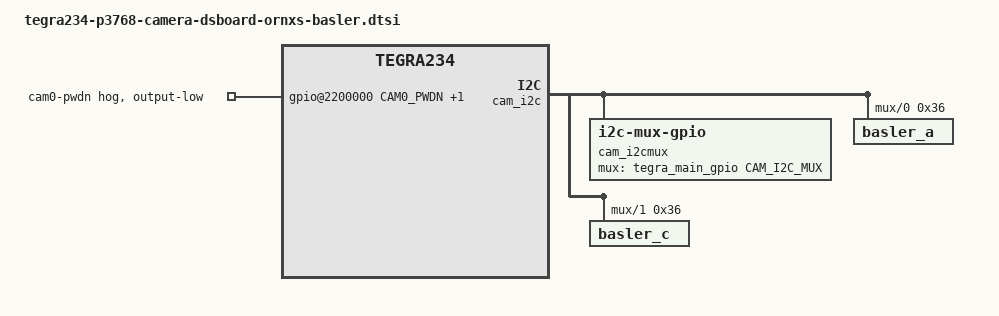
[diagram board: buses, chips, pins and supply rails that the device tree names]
/*
 * Copyright (c) 2022, NVIDIA CORPORATION.  All rights reserved.
 *
 * This program is free software; you can redistribute it and/or modify
 * it under the terms of the GNU General Public License as published by
 * the Free Software Foundation; either version 2 of the License, or
 * (at your option) any later version.
 *
 * This program is distributed in the hope that it will be useful, but WITHOUT
 * ANY WARRANTY; without even the implied warranty of MERCHANTABILITY or
 * FITNESS FOR A PARTICULAR PURPOSE.  See the GNU General Public License for
 * more details.
 *
 * You should have received a copy of the GNU General Public License
 * along with this program.  If not, see <http://www.gnu.org/licenses/>.
 */

#include "tegra234-camera-dsboard-ornxs-basler.dtsi"

#define CAM0_PWDN	TEGRA234_MAIN_GPIO(H, 6)
#define CAM1_PWDN	TEGRA234_MAIN_GPIO(AC, 0)
#define CAM_I2C_MUX 	TEGRA234_MAIN_GPIO(Q, 6)

/ {
	cam_i2cmux{
		status = "okay";
		compatible = "i2c-mux-gpio";
		#address-cells = <1>;
		#size-cells = <0>;
		i2c-parent = <&cam_i2c>;
		mux-gpios = <&tegra_main_gpio CAM_I2C_MUX GPIO_ACTIVE_HIGH>;
		i2c@0 {
			status = "okay";
			reg = <0>;
			#address-cells = <1>;
			#size-cells = <0>;
			basler_a@36 {
				reg = <0x36>;
			};
		};
		i2c@1 {
			status = "okay";
			reg = <1>;
			#address-cells = <1>;
			#size-cells = <0>;
			basler_c@36 {
				reg = <0x36>;
			};
		};
	};

	gpio@2200000 {
		camera-control-output-low {
			gpio-hog;
			output-low;
			gpios = <CAM0_PWDN 0 CAM1_PWDN 0>;
			label = "cam0-pwdn","cam1-pwdn";
		};
	};
};
